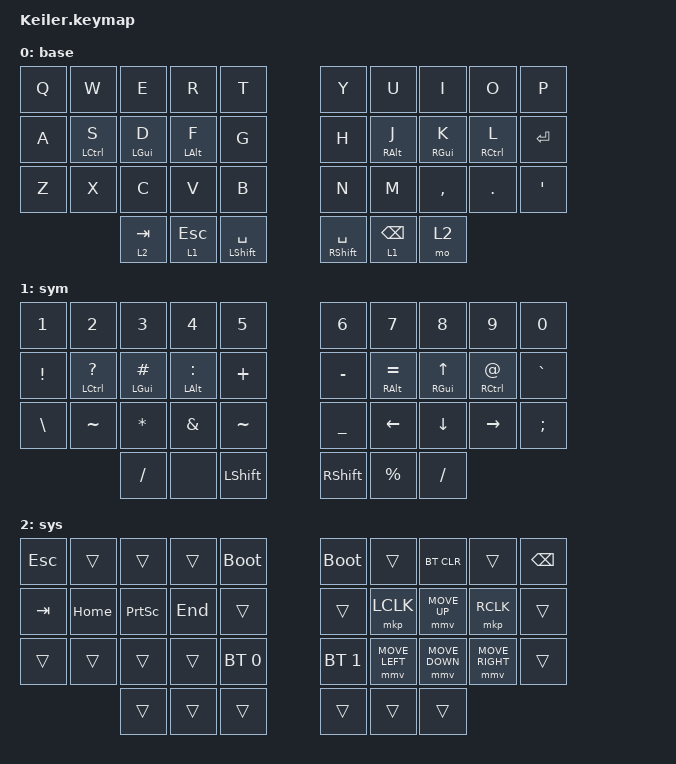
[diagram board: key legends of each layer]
// Copyright (c) 2022 The ZMK Contributors
// SPDX-License-Identifier: MIT

#include <behaviors.dtsi>
#include <dt-bindings/zmk/bt.h>
#include <dt-bindings/zmk/keys.h>
#include <dt-bindings/zmk/pointing.h>

#define SYM 1
#define NUM 2

/* KEY POSITIONS

// ╭──────────────╮ ╭──────────────╮
// │ 0  1  2  3  4│ │ 5  6  7  8  9│
// │10 11 12 13 14│ │15 16 17 18 19│
// │20 21 22 23 24│ │25 26 27 28 29│
// ╰─────╮30 31 32│ │33 34 35╭─────╯
//       ╰────────╯ ╰────────╯

*/

&kscan0 {
    debounce-press-ms = <10>;
    debounce-release-ms = <15>;
};

/ {
    macros {
        // Macro to send LCTRL + LSHIFT + F11
        // This is equivalent to &kp LCTL(LSFT(F11)) but using explicit macro steps
        // Macro to send LCTRL + LSHIFT + F12
    };

    combos { compatible = "zmk,combos"; };

    keymap {
        compatible = "zmk,keymap";

        base {
            bindings = <
  &kp Q  &kp W               &kp E           &kp R           &kp T                   &kp Y                  &kp U            &kp I            &kp O                &kp P
  &kp A  &mt LEFT_CONTROL S  &mt LEFT_GUI D  &mt LEFT_ALT F  &kp G                   &kp H                  &mt RIGHT_ALT J  &mt RIGHT_GUI K  &mt RIGHT_CONTROL L  &kp ENTER
  &kp Z  &kp X               &kp C           &kp V           &kp B                   &kp N                  &kp M            &kp COMMA        &kp DOT              &kp SINGLE_QUOTE
                             &lt 2 TAB       &lt 1 ESC       &mt LEFT_SHIFT SPACE    &mt RIGHT_SHIFT SPACE  &lt 1 BACKSPACE  &mo 2
            >;
        };

        sym {
            bindings = <
  &kp N1    &kp N2                  &kp N3             &kp N4              &kp N5            &kp N6           &kp N7               &kp N8                  &kp N9                &kp N0
  &kp EXCL  &mt LEFT_CONTROL QMARK  &mt LEFT_GUI HASH  &mt LEFT_ALT COLON  &kp PLUS          &kp MINUS        &mt RIGHT_ALT EQUAL  &mt RIGHT_GUI UP_ARROW  &mt RIGHT_CONTROL AT  &kp GRAVE
  &kp BSLH  &kp TILDE               &kp STAR           &kp AMPS            &kp TILDE         &kp UNDER        &kp LEFT             &kp DOWN                &kp RIGHT             &kp SEMI
                                    &kp SLASH          &none               &kp LEFT_SHIFT    &kp RIGHT_SHIFT  &kp PRCNT            &kp SLASH
            >;
        };

        sys {
            bindings = <
  &kp ESCAPE  &trans    &trans           &trans   &bootloader     &bootloader   &trans          &bt BT_CLR      &trans           &kp BACKSPACE
  &kp TAB     &kp HOME  &kp PRINTSCREEN  &kp END  &trans          &trans        &mkp LCLK       &mmv MOVE_UP    &mkp RCLK        &trans
  &trans      &trans    &trans           &trans   &bt BT_SEL 0    &bt BT_SEL 1  &mmv MOVE_LEFT  &mmv MOVE_DOWN  &mmv MOVE_RIGHT  &trans
                        &trans           &trans   &trans          &trans        &trans          &trans
            >;
        };
    };
};
